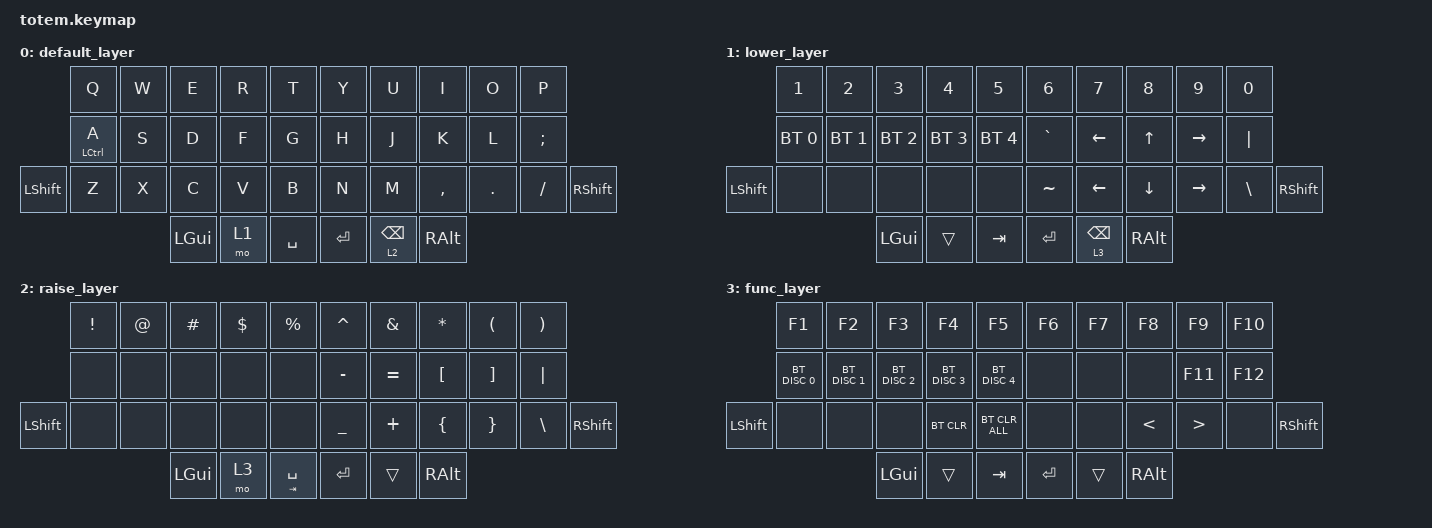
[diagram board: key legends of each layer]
// 1
//                                                        ▀▀▀▀▀     ▀▀▀▀▀          ▀▀█▀▀
//                                                        ▄▀▀▀▄  ▄  ▄▀▀▀▄  ▄  ▄▀▀▀▄  █  ▄▀▀▀▄
//                                                        █   █  █  █   █  █  █   █  █  █   █
//                                                         ▀▀▀   █   ▀▀▀   █   ▀▀▀   ▀   ▀▀▀
//                                                               █      ▄▄▄█▄▄▄    █   █  
//                                                               ▀      █  █  █     █▄█
//                                                             ▀▀▀▀▀    █  █  █      ▀
//                                                                      ▀  ▀  ▀
//
// ▄▄▄▄▄▄▄▄▄▄▄▄▄▄▄▄▄▄▄▄▄▄▄▄▄▄▄▄▄▄▄▄▄▄▄▄▄▄▄▄▄▄▄▄▄▄▄▄▄▄▄▄▄▄▄▄▄▄▄▄▄▄▄▄▄▄▄▄▄▄▄▄▄▄▄▄▄▄▄▄▄▄▄▄▄▄▄▄▄▄▄▄▄▄▄▄▄▄▄▄▄▄▄▄▄▄▄▄▄▄▄▄▄▄▄▄▄▄▄▄▄▄▄▄▄▄▄▄▄▄▄▄▄▄▄▄▄▄▄▄▄▄▄▄▄▄▄▄▄
       

#include <behaviors.dtsi>
#include <dt-bindings/zmk/keys.h>
#include <dt-bindings/zmk/bt.h>
#include <dt-bindings/zmk/outputs.h>

/ {
    combos {
            compatible = "zmk,combos";
            combo_esc {
                timeout-ms = <50>;
                key-positions = <0 1>;
                bindings = <&kp ESC>;
            };
            combo_sqt {
                timeout-ms = <50>;
                key-positions = <3 4>;
                bindings = <&kp SQT>;
            };
            combo_dqt {
                timeout-ms = <50>;
                key-positions = <5 6>;
                bindings = <&kp DQT>;
            };
            combo_del {
                timeout-ms = <50>;
                key-positions = <5 6 7>;
                bindings = <&kp DEL>;
            };
    };

        keymap {
                compatible = "zmk,keymap";

                default_layer {
                    bindings = <
           &kp Q        &kp W  &kp E     &kp R  &kp T           &kp Y    &kp U            &kp I      &kp O    &kp P           
           &mt LCTRL A  &kp S  &kp D     &kp F  &kp G           &kp H    &kp J            &kp K      &kp L    &kp SEMI        
&kp LSHFT  &kp Z        &kp X  &kp C     &kp V  &kp B           &kp N    &kp M            &kp COMMA  &kp DOT  &kp FSLH  &kp RSHFT
                               &kp LGUI  &mo 1  &kp SPACE       &kp RET  &lt 2 BACKSPACE  &kp RALT
                    >;
                };

                lower_layer {
                    bindings = <
           &kp N1        &kp N2        &kp N3        &kp N4        &kp N5              &kp N6     &kp N7           &kp N8              &kp N9     &kp N0     
           &bt BT_SEL 0  &bt BT_SEL 1  &bt BT_SEL 2  &bt BT_SEL 3  &bt BT_SEL 4        &kp GRAVE  &kp LEFT         &kp UP              &kp RIGHT  &kp PIPE    
&kp LSHFT  &none         &none         &none         &none         &none               &kp TILDE  &kp LEFT         &kp DOWN            &kp RIGHT  &kp BSLH  &kp RSHFT
                                       &kp LGUI      &trans        &kp TAB             &kp RET    &lt 3 BACKSPACE  &kp RALT
                    >;
                };

                raise_layer {
                    bindings = <
           &kp EXCL   &kp AT  &kp HASH  &kp DLLR  &kp PRCNT           &kp CARET  &kp AMPS   &kp ASTRK           &kp LPAR  &kp RPAR  
           &none      &none   &none     &none     &none               &kp MINUS  &kp EQUAL  &kp LBKT            &kp RBKT  &kp PIPE
&kp LSHFT  &none      &none   &none     &none     &none               &kp UNDER  &kp PLUS   &kp LBRC            &kp RBRC  &kp BSLH  &kp RSHFT
                              &kp LGUI  &mo 3     &mt TAB SPACE       &kp RET    &trans     &kp RALT
                    >;
                };

                func_layer {
                    bindings = <
           &kp F1         &kp F2         &kp F3         &kp F4         &kp F5               &kp F6   &kp F7  &kp F8              &kp F9   &kp F10  
           &bt BT_DISC 0  &bt BT_DISC 1  &bt BT_DISC 2  &bt BT_DISC 3  &bt BT_DISC 4        &none    &none   &none               &kp F11  &kp F12  
&kp LSHFT  &none          &none          &none          &bt BT_CLR     &bt BT_CLR_ALL       &none    &none   &kp LT              &kp GT   &none    &kp RSHFT
                                         &kp LGUI       &trans         &kp TAB              &kp RET  &trans  &kp RALT
                    >;
               };
        };
};
